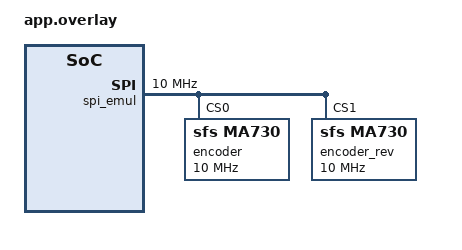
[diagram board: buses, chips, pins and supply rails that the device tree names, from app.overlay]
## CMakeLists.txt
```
# SPDX-License-Identifier: Apache-2.0

cmake_minimum_required(VERSION 3.20.0)

find_package(Zephyr REQUIRED HINTS $ENV{ZEPHYR_BASE})
project(test_ma730 LANGUAGES C)

target_sources(app PRIVATE src/main.c)
target_include_directories(app PRIVATE ../../../drivers/ma730)
```

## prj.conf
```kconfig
# SPDX-License-Identifier: Apache-2.0
CONFIG_ZTEST=y
CONFIG_EMUL=y
CONFIG_SPI=y
CONFIG_SPI_EMUL=y
CONFIG_SENSOR=y
CONFIG_LOG=y
```

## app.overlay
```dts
/*
 * SPDX-License-Identifier: Apache-2.0
 *
 * Two MA730 on an emulated SPI bus: one as mounted, one reversed with a zero offset.
 */

/ {
	spi_emul: spi@bad00000 {
		reg = <0xbad00000 0x100>;
		compatible = "zephyr,spi-emul-controller";
		clock-frequency = <10000000>;
		#address-cells = <1>;
		#size-cells = <0>;
		status = "okay";

		encoder: ma730@0 {
			compatible = "sfs,ma730";
			reg = <0>;
			spi-max-frequency = <10000000>;
		};

		encoder_rev: ma730@1 {
			compatible = "sfs,ma730";
			reg = <1>;
			spi-max-frequency = <10000000>;
			reverse;
			zero-offset = <1000>;
		};
	};
};
```

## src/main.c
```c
/*
 * SPDX-License-Identifier: Apache-2.0
 *
 * MA730 driver against its emulator: angle frames, register reads, field flags, the
 * sensor API, reverse and zero offset, no write to the non-volatile memory, and the two
 * frames of a register read kept together against another thread.
 */

#include <zephyr/drivers/emul.h>
#include <zephyr/drivers/sensor.h>
#include <zephyr/ztest.h>

#include <doppelstep/drivers/ma730.h>

#include "ma730_emul.h"

static const struct device *const enc = DEVICE_DT_GET(DT_NODELABEL(encoder));
static const struct device *const enc_rev = DEVICE_DT_GET(DT_NODELABEL(encoder_rev));
static const struct emul *const emul = EMUL_DT_GET(DT_NODELABEL(encoder));
static const struct emul *const emul_rev = EMUL_DT_GET(DT_NODELABEL(encoder_rev));

static void before_each(void *fixture)
{
	ARG_UNUSED(fixture);
	ma730_emul_set_angle(emul, 0U);
	ma730_emul_set_angle(emul_rev, 0U);
	ma730_emul_set_reg(emul, MA730_REG_FIELD, 0U);
	ma730_emul_set_frame_hook(emul, NULL, NULL);
}

ZTEST(ma730, test_devices_are_ready)
{
	zassert_true(device_is_ready(enc));
	zassert_true(device_is_ready(enc_rev));
}

ZTEST(ma730, test_angle_is_one_frame)
{
	const uint32_t frames = ma730_emul_frames(emul);
	uint16_t angle;

	ma730_emul_set_angle(emul, 0x4000U); /* a quarter turn */
	zassert_ok(ma730_read_angle(enc, &angle));
	zassert_equal(angle, 0x4000U);
	zassert_equal(ma730_emul_frames(emul), frames + 1U);
}

ZTEST(ma730, test_register_read_takes_two_frames)
{
	const uint32_t frames = ma730_emul_frames(emul);
	uint8_t value = 0U;

	ma730_emul_set_reg(emul, 0x09U, 0x80U);
	zassert_ok(ma730_read_reg(enc, 0x09U, &value));
	zassert_equal(value, 0x80U);
	zassert_equal(ma730_emul_frames(emul), frames + 2U);
	zassert_equal(ma730_read_reg(enc, 0x20U, &value), -EINVAL, "5-bit address");
}

ZTEST(ma730, test_field_flags)
{
	bool high = true;
	bool low = true;

	zassert_ok(ma730_read_field(enc, &high, &low));
	zassert_false(high);
	zassert_false(low);

	ma730_emul_set_reg(emul, MA730_REG_FIELD, MA730_FIELD_LOW);
	zassert_ok(ma730_read_field(enc, &high, &low));
	zassert_false(high);
	zassert_true(low, "magnet too far");

	ma730_emul_set_reg(emul, MA730_REG_FIELD, MA730_FIELD_HIGH);
	zassert_ok(ma730_read_field(enc, &high, &low));
	zassert_true(high, "magnet too close");
	zassert_false(low);
}

ZTEST(ma730, test_after_a_register_read_the_angle_comes_back)
{
	uint8_t value;
	uint16_t angle;

	ma730_emul_set_angle(emul, 1234U);
	zassert_ok(ma730_read_reg(enc, MA730_REG_FIELD, &value));
	zassert_ok(ma730_read_angle(enc, &angle));
	zassert_equal(angle, 1234U);
}

ZTEST(ma730, test_sensor_api_reports_degrees)
{
	struct sensor_value val;

	ma730_emul_set_angle(emul, 0x8000U); /* half a turn */
	zassert_ok(sensor_sample_fetch(enc));
	zassert_ok(sensor_channel_get(enc, SENSOR_CHAN_ROTATION, &val));
	zassert_equal(val.val1, 180);
	zassert_equal(val.val2, 0);

	ma730_emul_set_angle(emul, 1U); /* one count: 360 / 65536 degrees */
	zassert_ok(sensor_sample_fetch_chan(enc, SENSOR_CHAN_ROTATION));
	zassert_ok(sensor_channel_get(enc, SENSOR_CHAN_ROTATION, &val));
	zassert_equal(val.val1, 0);
	zassert_equal(val.val2, 5493); /* 5493.16 micro-degrees */

	zassert_equal(sensor_channel_get(enc, SENSOR_CHAN_ACCEL_X, &val), -ENOTSUP);
	zassert_equal(sensor_sample_fetch_chan(enc, SENSOR_CHAN_ACCEL_X), -ENOTSUP);
}

ZTEST(ma730, test_reverse_and_zero_offset)
{
	uint16_t angle;

	/* reversed: 0 - raw, then minus the offset of 1000 */
	ma730_emul_set_angle(emul_rev, 1000U);
	zassert_ok(ma730_read_angle(enc_rev, &angle));
	zassert_equal(angle, (uint16_t)(0U - 1000U - 1000U));

	ma730_emul_set_angle(emul_rev, (uint16_t)(0U - 1000U));
	zassert_ok(ma730_read_angle(enc_rev, &angle));
	zassert_equal(angle, 0U, "the raw reading of the zero position gives 0");
}

ZTEST(ma730, test_the_driver_never_writes_the_nvm)
{
	uint16_t angle;
	uint8_t value;

	zassert_ok(ma730_read_angle(enc, &angle));
	zassert_ok(ma730_read_reg(enc, 0x00U, &value));
	zassert_equal(ma730_emul_writes(emul), 0U);
	zassert_equal(ma730_emul_writes(emul_rev), 0U);
}

/* A register read in a thread of lower priority than the test. Right after its read
 * command frame the emulator hook wakes the test thread, which preempts it and reads the
 * angle before the second frame of the register read.
 */
#define READER_STACK_SIZE 2048
K_THREAD_STACK_DEFINE(reader_stack, READER_STACK_SIZE);
static struct k_thread reader_thread;
static K_SEM_DEFINE(command_sent, 0, 1);
static uint8_t reader_value;
static int reader_ret;

static void wake_test_after_read_command(uint16_t tx, void *ctx)
{
	ARG_UNUSED(ctx);
	if ((tx >> 13) == 0x2U) { /* 010: read command */
		ma730_emul_set_frame_hook(emul, NULL, NULL);
		k_sem_give(&command_sent);
	}
}

static void reader(void *p1, void *p2, void *p3)
{
	ARG_UNUSED(p1);
	ARG_UNUSED(p2);
	ARG_UNUSED(p3);
	reader_ret = ma730_read_reg(enc, MA730_REG_FIELD, &reader_value);
}

ZTEST(ma730, test_register_read_is_not_split_by_another_thread)
{
	const int prio = k_thread_priority_get(k_current_get());
	uint16_t angle = 0U;

	ma730_emul_set_angle(emul, 0x04D2U);
	ma730_emul_set_reg(emul, MA730_REG_FIELD, MA730_FIELD_HIGH | MA730_FIELD_LOW);
	ma730_emul_set_frame_hook(emul, wake_test_after_read_command, NULL);
	k_sem_reset(&command_sent);
	reader_value = 0U;
	reader_ret = -1;

	k_thread_create(&reader_thread, reader_stack, K_THREAD_STACK_SIZEOF(reader_stack),
			reader, NULL, NULL, NULL, prio + 1, 0, K_NO_WAIT);
	zassert_ok(k_sem_take(&command_sent, K_SECONDS(1)), "no read command");

	/* The reader is between its two frames */
	zassert_ok(ma730_read_angle(enc, &angle));
	zassert_ok(k_thread_join(&reader_thread, K_SECONDS(1)));

	zassert_equal(angle, 0x04D2U, "the angle frame took the register answer");
	zassert_ok(reader_ret);
	zassert_equal(reader_value, MA730_FIELD_HIGH | MA730_FIELD_LOW,
		      "the register read took the angle");
}

ZTEST_SUITE(ma730, NULL, NULL, before_each, NULL, NULL);
```
